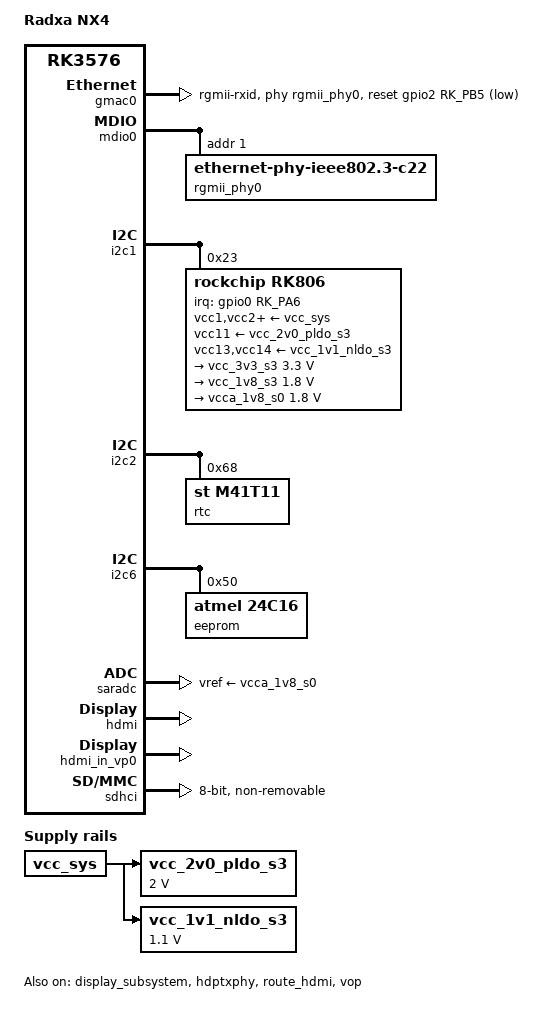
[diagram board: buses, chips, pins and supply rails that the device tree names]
// SPDX-License-Identifier: (GPL-2.0+ OR MIT)
/*
 * Copyright (c) 2024 Rockchip Electronics Co., Ltd.
 * Copyright (c) 2025 Radxa Computer (Shenzhen) Co., Ltd.
 */

#include <dt-bindings/gpio/gpio.h>
#include <dt-bindings/pinctrl/rockchip.h>
#include "rk3576.dtsi"

/ {
	model = "Radxa NX4";
	compatible = "radxa,nx4", "rockchip,rk3576";

	aliases {
		ethernet0 = &gmac0;
	};

	chosen {
		stdout-path = "serial0:1500000n8";
	};

	vcc_2v0_pldo_s3: vcc-2v0-pldo-s3 {
		compatible = "regulator-fixed";
		regulator-name = "vcc_2v0_pldo_s3";
		regulator-boot-on;
		regulator-always-on;
		regulator-min-microvolt = <2000000>;
		regulator-max-microvolt = <2000000>;
		vin-supply = <&vcc_sys>;
	};

	vcc_1v1_nldo_s3: vcc-1v1-nldo-s3 {
		compatible = "regulator-fixed";
		regulator-name = "vcc_1v1_nldo_s3";
		regulator-boot-on;
		regulator-always-on;
		regulator-min-microvolt = <1100000>;
		regulator-max-microvolt = <1100000>;
		vin-supply = <&vcc_sys>;
	};
};

&gmac0 {
	phy-mode = "rgmii-rxid";
	clock_in_out = "output";
	snps,reset-gpio = <&gpio2 RK_PB5 GPIO_ACTIVE_LOW>;
	snps,reset-active-low;
	snps,reset-delays-us = <0 20000 100000>;
	pinctrl-names = "default";
	pinctrl-0 = <&eth0m0_miim &eth0m0_tx_bus2 &eth0m0_rx_bus2
		     &eth0m0_rgmii_clk &eth0m0_rgmii_bus &ethm0_clk0_25m_out>;
	tx_delay = <0x20>;
	phy-handle = <&rgmii_phy0>;
	status = "okay";
};

&mdio0 {
	rgmii_phy0: ethernet-phy@1 {
		compatible = "ethernet-phy-ieee802.3-c22";
		reg = <1>;
		clocks = <&cru REFCLKO25M_GMAC0_OUT>;
	};
};

&i2c1 {
	status = "okay";

	rk806: pmic@23 {
		compatible = "rockchip,rk806";
		reg = <0x23>;
		interrupt-parent = <&gpio0>;
		interrupts = <RK_PA6 IRQ_TYPE_LEVEL_LOW>;
		pinctrl-names = "default";
		pinctrl-0 = <&pmic_pins>;
		vcc1-supply = <&vcc_sys>;
		vcc2-supply = <&vcc_sys>;
		vcc3-supply = <&vcc_sys>;
		vcc4-supply = <&vcc_sys>;
		vcc5-supply = <&vcc_sys>;
		vcc6-supply = <&vcc_sys>;
		vcc7-supply = <&vcc_sys>;
		vcc8-supply = <&vcc_sys>;
		vcc9-supply = <&vcc_sys>;
		vcc10-supply = <&vcc_sys>;
		vcc11-supply = <&vcc_2v0_pldo_s3>;
		vcc12-supply = <&vcc_sys>;
		vcc13-supply = <&vcc_1v1_nldo_s3>;
		vcc14-supply = <&vcc_1v1_nldo_s3>;
		vcca-supply = <&vcc_sys>;

		regulators {
			vcc_3v3_s3: DCDC_REG4 {
				regulator-name = "vcc_3v3_s3";
				regulator-always-on;
				regulator-boot-on;
				regulator-min-microvolt = <3300000>;
				regulator-max-microvolt = <3300000>;
			};

			vcc_1v8_s3: DCDC_REG8 {
				regulator-name = "vcc_1v8_s3";
				regulator-always-on;
				regulator-boot-on;
				regulator-min-microvolt = <1800000>;
				regulator-max-microvolt = <1800000>;
			};

			vcca_1v8_s0: PLDO_REG1 {
				regulator-name = "vcca_1v8_s0";
				regulator-always-on;
				regulator-boot-on;
				regulator-min-microvolt = <1800000>;
				regulator-max-microvolt = <1800000>;
			};
		};
	};
};

&i2c2 {
	status = "okay";

	rtc@68 {
		compatible = "st,m41t11";
		reg = <0x68>;
	};
};

&i2c6 {
	status = "okay";
	pinctrl-names = "default";
	pinctrl-0 = <&i2c6m3_xfer>;

	eeprom: eeprom@50 {
		compatible = "atmel,24c16";
		reg = <0x50>;
		pagesize = <16>;
	};
};

&pinctrl {
	pmic {
		pmic_pins: pmic-pins {
			rockchip,pins = <0 RK_PA6 RK_FUNC_GPIO &pcfg_pull_up>;
		};
	};
};

&saradc {
	vref-supply = <&vcca_1v8_s0>;
	status = "okay";
};

&display_subsystem {
	status = "okay";
};

&hdmi {
	status = "okay";
	cec-enable;
};

&hdmi_in_vp0 {
	status = "okay";
};

&hdptxphy {
	status = "okay";
};

&route_hdmi {
	status = "okay";
	connect = <&vp0_out_hdmi>;
};

&sdhci {
	bus-width = <8>;
	no-sdio;
	no-sd;
	non-removable;
	max-frequency = <200000000>;
	mmc-hs400-1_8v;
	mmc-hs400-enhanced-strobe;
	pinctrl-names = "default";
	pinctrl-0 = <&emmc_bus8 &emmc_clk &emmc_cmd &emmc_strb &emmc_rstnout>;
	status = "okay";
};

&vop {
	status = "okay";
};

&vop_mmu {
	status = "okay";
};
